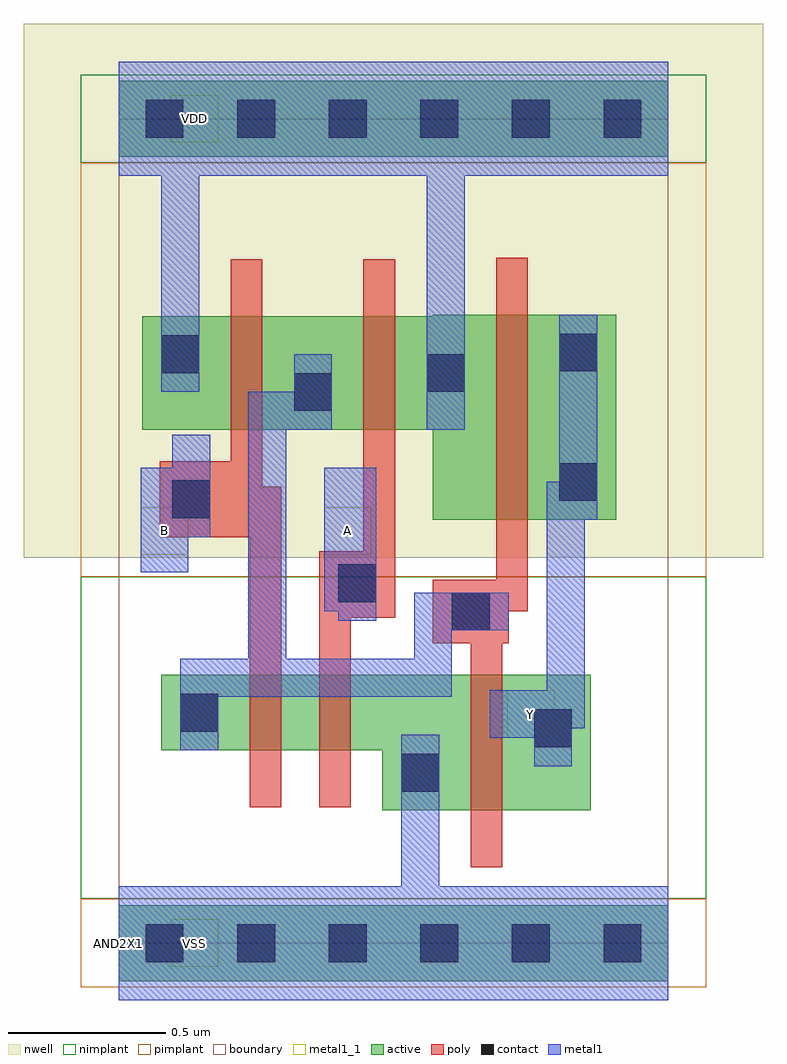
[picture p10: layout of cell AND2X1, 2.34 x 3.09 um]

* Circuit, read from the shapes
.subckt AND2X1 A B VDD VSS Y
M1 n1 B n2 VSS nfet w=0.24u l=0.1u
M2 VSS A n1 VSS nfet w=0.24u l=0.1u
M3 Y n2 VSS VSS nfet w=0.43u l=0.1u
M4 n2 B VDD VDD pfet w=0.36u l=0.1u
M5 VDD A n2 VDD pfet w=0.36u l=0.1u
M6 Y n2 VDD VDD pfet w=0.65u l=0.1u
.ends

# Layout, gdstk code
import gdstk
lib = gdstk.Library(unit=1e-6, precision=5e-10)
def R(c, l, rs):  # rectangles x0, y0, x1, y1
    for r in rs: c.add(gdstk.rectangle(r[:2], r[2:], *l))
def A(c, l, x, y, w, h, nx, ny, dx, dy):  # array of equal rectangles
    R(c, l, [(x+i*dx, y+j*dy, x+i*dx+w, y+j*dy+h) for i in range(nx) for j in range(ny)])
active = (1, 0)
nwell = (2, 0)
poly = (3, 0)
nimplant = (4, 0)
pimplant = (5, 0)
contact = (6, 0)
metal1 = (7, 0)
metal1_1 = (7, 1)
boundary = (62, 0)

and2x1 = lib.new_cell('AND2X1')
R(and2x1, active, [(0,-0.12,1.74,0.12), (0.835,0.42,1.495,0.61), (0.135,0.61,1.495,0.85), (0.995,1.34,1.575,1.625), (0.075,1.625,1.575,1.985), (0.995,1.985,1.575,1.99), (0,2.49,1.74,2.73)])
R(and2x1, nwell, [(-0.3,1.22,2.04,2.91)])
R(and2x1, poly, [(1.115,0.24,1.215,0.95), (0.415,0.43,0.515,1.285), (0.635,0.43,0.735,1.03), (0.995,0.95,1.235,1.05), (0.635,1.03,0.875,1.24), (0.995,1.05,1.295,1.15), (1.195,1.15,1.295,2.17), (0.775,1.24,0.875,2.165), (0.13,1.285,0.515,1.445), (0.13,1.445,0.455,1.525), (0.355,1.525,0.455,2.165)])
R(and2x1, nimplant, [(-0.12,0.14,1.86,1.16), (-0.12,2.47,1.86,2.75)])
R(and2x1, pimplant, [(-0.12,-0.14,1.86,0.14), (-0.12,1.16,1.86,2.47)])
A(and2x1, contact, 0.085, -0.06, 0.12, 0.12, 6, 2, 0.29, 2.61)
R(and2x1, contact, [(0.895,0.48,1.015,0.6), (1.315,0.62,1.435,0.74), (0.195,0.67,0.315,0.79), (1.055,0.99,1.175,1.11), (0.695,1.08,0.815,1.2), (0.17,1.345,0.29,1.465), (1.395,1.4,1.515,1.52), (0.555,1.685,0.675,1.805), (0.975,1.745,1.095,1.865), (0.135,1.805,0.255,1.925), (1.395,1.81,1.515,1.93)])
R(and2x1, metal1, [(0,-0.18,1.74,0.18), (0.895,0.18,1.015,0.66), (1.315,0.56,1.435,0.65), (0.195,0.61,0.315,0.78), (1.175,0.65,1.435,0.68), (1.175,0.68,1.475,0.8), (0.195,0.78,1.055,0.9), (1.355,0.8,1.475,1.34), (0.41,0.9,0.53,1.625), (0.935,0.9,1.055,0.99), (0.935,0.99,1.235,1.11), (0.695,1.02,0.815,1.05), (0.65,1.05,0.815,1.505), (0.07,1.175,0.22,1.285), (0.07,1.285,0.29,1.505), (1.355,1.34,1.515,1.46), (1.395,1.46,1.515,1.99), (0.17,1.505,0.29,1.61), (0.41,1.625,0.675,1.745), (0.975,1.625,1.095,2.43), (0.135,1.745,0.255,2.43), (0.555,1.745,0.675,1.865), (0,2.43,1.74,2.79)])
R(and2x1, metal1_1, [(0.165,-0.075,0.315,0.075), (1.23,0.65,1.38,0.8), (0.07,1.23,0.22,1.38), (0.65,1.23,0.8,1.38), (0.165,2.535,0.315,2.685)])
R(and2x1, boundary, [(0,0,1.74,2.61)])
and2x1.add(gdstk.Label('AND2X1', (0,0), layer=63, texttype=0))
and2x1.add(gdstk.Label('VSS', (0.24,0), layer=7, texttype=3))
and2x1.add(gdstk.Label('VDD', (0.24,2.61), layer=7, texttype=3))
and2x1.add(gdstk.Label('B', (0.145,1.305), layer=7, texttype=3))
and2x1.add(gdstk.Label('A', (0.725,1.305), layer=7, texttype=3))
and2x1.add(gdstk.Label('Y', (1.305,0.725), layer=7, texttype=3))

lib.write_gds('AND2X1.gds')
